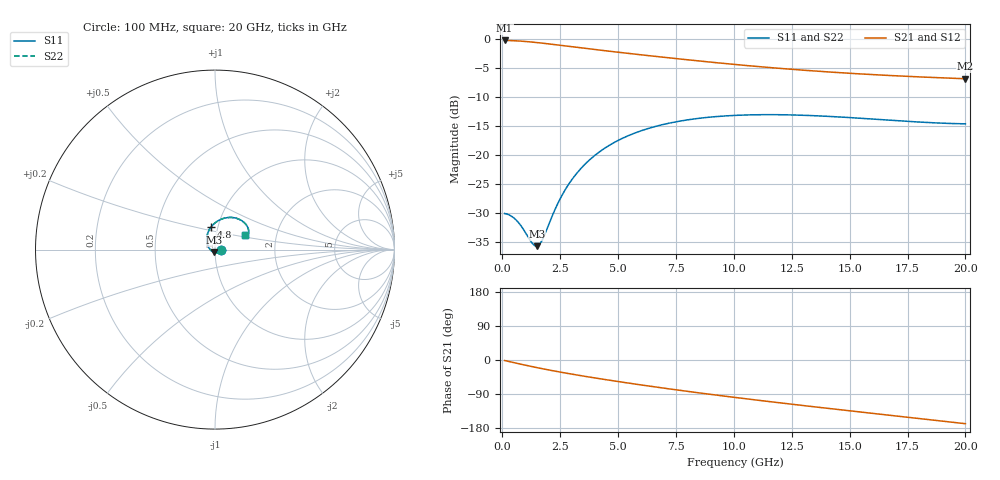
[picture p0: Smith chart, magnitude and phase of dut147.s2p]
! Created with skrf 1.9.0 (http://scikit-rf.org).
# GHz S RI R 50.0
!freq ReS11 ImS11 ReS21 ImS21 ReS12 ImS12 ReS22 ImS22
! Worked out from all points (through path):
!   200 points, 100 MHz to 20 GHz, reference 50 ohm
!   highest |S21| = -0.28 dB at 100 MHz (marker M1); lowest = -6.9 dB at 20 GHz (marker M2)
!   group delay of S21, straight-line fit = 22.2 ps
!   lowest |S11| = -35.7 dB at 1.5 GHz (marker M3), VSWR 1.03, Z = 49.3 - j1.46 ohm
!   |S11| at or under -10 dB: start of sweep to end of sweep
!   |S22| runs from -35.7 to -13.1 dB; largest |S21 - S12| = 2e-15
!   S11 on the Smith chart (normalised r, x): 100 MHz: 1.06, -0.01; 4.8 GHz: 0.93, +0.24; 20 GHz: 1.38, +0.23
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0.1  0.0312 -0.00276  0.9681 -0.0235  0.9681 -0.0235  0.0312 -0.00276
0.4  0.028 -0.00977  0.9606 -0.0941  0.9606 -0.0941  0.028 -0.00977
0.6  0.0238 -0.0137  0.9509 -0.1397  0.9509 -0.1397  0.0238 -0.0137
0.9  0.0151 -0.0174  0.9303 -0.2048  0.9303 -0.2048  0.0151 -0.0174
1.3  0.000643 -0.0173  0.8934 -0.2841  0.8934 -0.2841  0.000643 -0.0173
1.5  -0.00702 -0.0148  0.8718 -0.3202  0.8718 -0.3202  -0.00702 -0.0148
1.7  -0.0145 -0.0108  0.8488 -0.3538  0.8488 -0.3538  -0.0145 -0.0108
2.3  -0.0335 0.0089  0.7735 -0.4405  0.7735 -0.4405  -0.0335 0.0089
2.7  -0.0418 0.0266  0.7207 -0.4876  0.7207 -0.4876  -0.0418 0.0266
3.1  -0.0458 0.0461  0.6672 -0.5275  0.6672 -0.5275  -0.0458 0.0461
3.5  -0.0458 0.0662  0.6138 -0.561  0.6138 -0.561  -0.0458 0.0662
4.1  -0.0388 0.0953  0.5347 -0.6011  0.5347 -0.6011  -0.0388 0.0953
4.8  -0.0226 0.1249  0.4446 -0.6346  0.4446 -0.6346  -0.0226 0.1249
5.7  0.00645 0.1536  0.3335 -0.6599  0.3335 -0.6599  0.00645 0.1536
6.8  0.0472 0.1736  0.2071 -0.6682  0.2071 -0.6682  0.0472 0.1736
8.3  0.1001 0.1783  0.0546 -0.6483  0.0546 -0.6483  0.1001 0.1783
10.1  0.1481 0.1617  -0.0958 -0.5924  -0.0958 -0.5924  0.1481 0.1617
11.7  0.1739 0.1384  -0.2014 -0.5253  -0.2014 -0.5253  0.1739 0.1384
13.4  0.1862 0.1135  -0.2887 -0.4444  -0.2887 -0.4444  0.1862 0.1135
15  0.1873 0.0947  -0.3512 -0.3629  -0.3512 -0.3629  0.1873 0.0947
16.7  0.1817 0.082  -0.3993 -0.273  -0.3993 -0.273  0.1817 0.082
20  0.1669 0.0804  -0.4434 -0.0936  -0.4434 -0.0936  0.1669 0.0804
